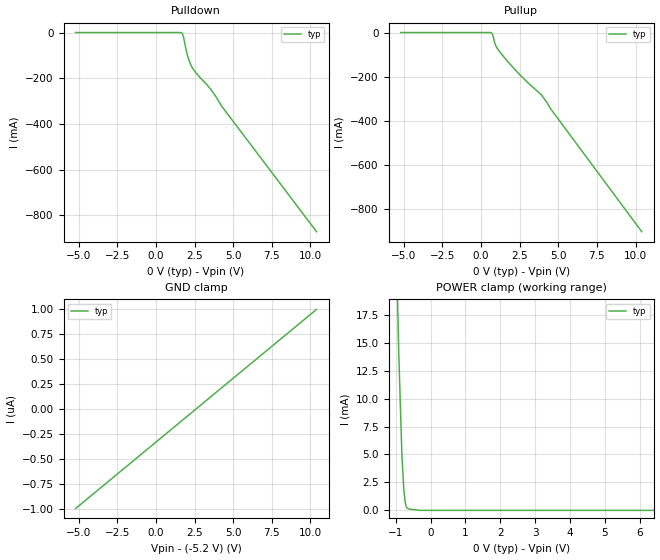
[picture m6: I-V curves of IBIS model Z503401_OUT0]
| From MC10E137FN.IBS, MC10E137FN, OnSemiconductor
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| (C) COPYRIGHT 1993-2000
| MENTOR GRAPHICS CORPORATION
| ICX STANDARD LIBRARY, ICX PROJECT MODELING,
| ICX CUSTOM MODELING, ICX VENDOR MODEL
| ALL RIGHTS RESERVED.
| THE FOLLOWING ARE TRADEMARKS OR SERVICE MARKS OF
| MENTOR GRAPHICS CORPORATION:ICX (R), ICX STANDARD
| LIBRARY(R), ICX PROJECT MODELING(R), ICX CUSTOM
| MODELING(R), qualityIBIS(TM), MODELVIEWER(TM),
| AND MODELEDITOR(TM)
| ALL COPIES OF SOFTWARE, INCLUDING BUT NOT LIMITED TO
| ANY MODIFICATIONS, ENHANCEMENTS OR DERIVATIVE WORKS,
| MUST CONTAIN ALL MENTOR GRAPHICS CORPORATION'S
| NOTICES AND LEGENDS, INCLUDING THOSE EMBEDDED IN
| SOFTWARE AND THOSE AFFIXED TO SOFTWARE MEDIUM
| AND CONTAINER, AS RECEIVED FROM MENTOR GRAPHICS
| CORPORATION.
| Model Application Version 1.89 2/18/99.
[Model] Z503401_OUT0
Model_type Output_ECL
Vref=-2.000V
Rref=50.00ohms
Cref=0.000F
Vmeas=-1.305V
C_comp 8.000pF NA NA
| variable typ   min   max
[Voltage Range] -5.200V NA NA
[POWER Clamp Reference] 0.000V NA NA
[Pullup Reference] 0.000V NA NA
[Pulldown Reference] 0.000V NA NA
[GND Clamp Reference] -5.200V NA NA
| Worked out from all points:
|   POWER clamp passes 1 mA (typ) near -0.74 V on its own axis
[GND Clamp]
-5.2V     -1uA       NA         NA
10.4V     1uA        NA         NA
[Pulldown]
-5.2V     65.84uA    NA         NA
1.543V    24.9uA     NA         NA
1.699V    -3.196mA   NA         NA
1.784V    -18.38mA   NA         NA
1.943V    -71.84mA   NA         NA
2.065V    -104.8mA   NA         NA
2.197V    -131.2mA   NA         NA
2.423V    -160.9mA   NA         NA
3.604V    -253.7mA   NA         NA
4.263V    -322.8mA   NA         NA
10.4V     -872.1mA   NA         NA
[Pullup]
-5.2V     -2.105uA   NA         NA
683.6mV   -2.06mA    NA         NA
756.7mV   -11.01mA   NA         NA
876mV     -43.87mA   NA         NA
958.7mV   -60.62mA   NA         NA
1.244V    -90.61mA   NA         NA
2.476V    -188.6mA   NA         NA
3.892V    -280.5mA   NA         NA
4.253V    -314.8mA   NA         NA
4.533V    -347.5mA   NA         NA
10.4V     -900.2mA   NA         NA
[POWER Clamp]
-5.2V     1.759A     NA         NA
-1.113V   52.68mA    NA         NA
-1.001V   26.37mA    NA         NA
-911.1mV  13.96mA    NA         NA
-822.9mV  5.052mA    NA         NA
-768.4mV  1.879mA    NA         NA
-726.2mV  719.7uA    NA         NA
-688.2mV  232.6uA    NA         NA
-610.4mV  117.8uA    NA         NA
-305.2mV  0A         NA         NA
10.4V     0A         NA         NA
[Ramp]
| variable typ min max
dV/dt_r 549.4m/521.9p NA NA
dV/dt_f 549.4m/442.7p NA NA
R_load = 50.00Ohms
